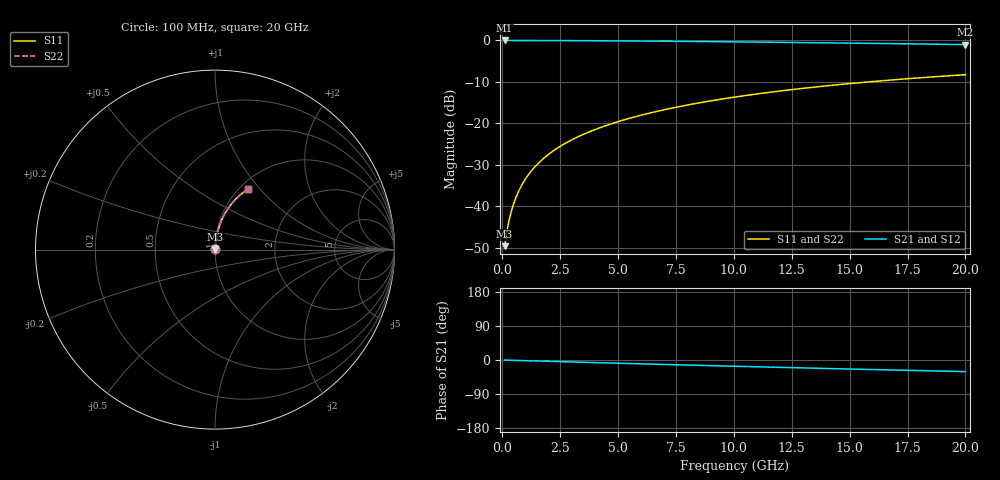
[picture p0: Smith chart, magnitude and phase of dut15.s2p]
! Touchstone file exported from HFSS 2024.1.0
!  File:  C:/UserFiles/LocalFiles/RDL_TSV_Batchsim/temp_RDL_top_15_1778679968.aedt
!  Generated:  09:48:17 PM May 13, 2026
!  Design:  RDL_top
!  Project:  temp_RDL_top_15_1778679968
!  Setup:  Setup1
!  Solution:  Sweep
! Variables:
!  dtsv = 10.80580581um
!  hbump = 3um
!  htsv = 95.03um
!  ldown = 100um
!  lrdl = 343.34um
!  p = 40
!  p1 = 56.61um
!  rhole = 1um
!  t = 450um
!  tdown = 3.915915916um
!  trdl = 4.49um
!  wdown = 15.38538539um
!  wrdl = 11.13um
# GHz S MA R 50.000000
! Terminal data exported
! Port[1] = Box2_T1
! Port[2] = Box2_T2
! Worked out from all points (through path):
!   200 points, 100 MHz to 20 GHz, reference 50 ohm
!   highest |S21| = -0.02 dB at 100 MHz (marker M1); lowest = -1.0 dB at 20 GHz (marker M2)
!   group delay of S21, straight-line fit = 4.25 ps
!   lowest |S11| = -49.6 dB at 100 MHz (marker M3), VSWR 1.01, Z = 50.3 + j0.217 ohm
!   |S11| at or under -10 dB: start of sweep to 15.82 GHz
!   |S22| runs from -49.6 to -8.3 dB; largest |S21 - S12| = 2.6e-15
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0.1  0.003316 40.7  0.9975 -0.2  0.9975 -0.2  0.003316 40.7
! Gamma 0 0 0 0
! Port Impedance 50 0 50 0
0.2  0.005005 59.2  0.9974 -0.4  0.9974 -0.4  0.005005 59.2
0.3  0.006928 67.7  0.9974 -0.5  0.9974 -0.5  0.006928 67.7
0.4  0.008931 72.5  0.9973 -0.7  0.9973 -0.7  0.008931 72.5
0.5  0.01097 75.5  0.9972 -0.9  0.9972 -0.9  0.01097 75.5
0.6  0.01304 77.5  0.9971 -1.1  0.9971 -1.1  0.01304 77.5
0.8  0.0172 80.0  0.997 -1.4  0.997 -1.4  0.0172 80.0
1.1  0.02348 81.9  0.9966 -1.9  0.9966 -1.9  0.02348 81.9
1.5  0.03188 82.9  0.9961 -2.6  0.9961 -2.6  0.03188 82.9
1.8  0.03819 83.3  0.9956 -3.1  0.9956 -3.1  0.03819 83.3
2.1  0.04448 83.4  0.9951 -3.6  0.9951 -3.6  0.04448 83.4
2.7  0.05706 83.3  0.9937 -4.7  0.9937 -4.7  0.05706 83.3
3.5  0.07378 82.7  0.9915 -6.0  0.9915 -6.0  0.07377 82.7
4.2  0.08836 82.1  0.9892 -7.2  0.9892 -7.2  0.08836 82.1
5  0.105 81.2  0.9861 -8.5  0.9861 -8.5  0.105 81.2
5.9  0.1236 80.1  0.9822 -10.0  0.9822 -10.0  0.1236 80.1
6.8  0.1421 79.0  0.9779 -11.5  0.9779 -11.5  0.1421 79.0
8.3  0.1726 77.1  0.9701 -13.9  0.9701 -13.9  0.1726 77.1
10.1  0.2086 74.7  0.9596 -16.6  0.9596 -16.6  0.2086 74.7
13.4  0.2721 70.1  0.9382 -21.5  0.9382 -21.5  0.2721 70.1
16.7  0.3316 65.6  0.9146 -26.2  0.9146 -26.2  0.3315 65.6
20  0.3862 61.3  0.8895 -30.7  0.8895 -30.7  0.3862 61.3
